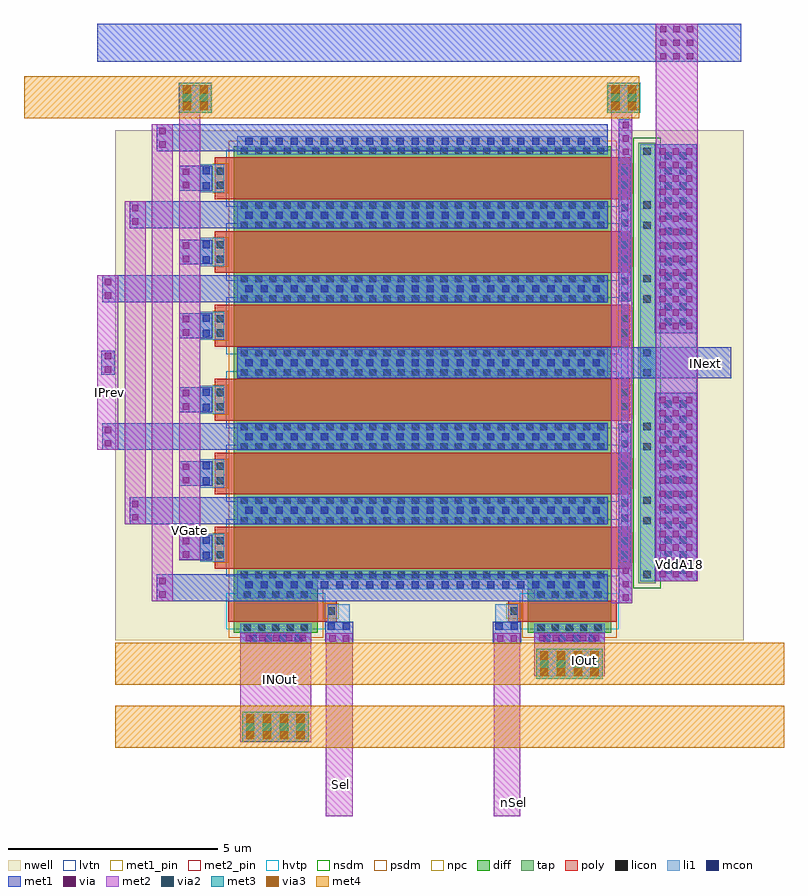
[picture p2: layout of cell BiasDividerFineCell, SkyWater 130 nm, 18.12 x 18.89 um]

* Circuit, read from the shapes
.subckt BiasDividerFineCell INOut INext IOut IPrev Sel VGate VddA18 nSel
XM1 n1 Sel INOut VddA18 sky130_fd_pr__pfet_01v8_hvt w=2 l=0.5
XM2 n2 VGate n1 VddA18 sky130_fd_pr__pfet_01v8_lvt w=9 l=1 m=2
XM3 IPrev VGate n2 VddA18 sky130_fd_pr__pfet_01v8_lvt w=9 l=1 m=2
XM4 INext VGate IPrev VddA18 sky130_fd_pr__pfet_01v8_lvt w=9 l=1 m=2
XM5 n1 nSel IOut VddA18 sky130_fd_pr__pfet_01v8_hvt w=2 l=0.5
.ends

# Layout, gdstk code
import gdstk
lib = gdstk.Library(unit=1e-6, precision=1e-09)
def R(c, l, rs):  # rectangles x0, y0, x1, y1
    for r in rs: c.add(gdstk.rectangle(r[:2], r[2:], *l))
def A(c, l, x, y, w, h, nx, ny, dx, dy):  # array of equal rectangles
    R(c, l, [(x+i*dx, y+j*dy, x+i*dx+w, y+j*dy+h) for i in range(nx) for j in range(ny)])
nwell = (64, 20)
diff = (65, 20)
tap = (65, 44)
poly = (66, 20)
licon = (66, 44)
li1 = (67, 20)
mcon = (67, 44)
met1_pin = (68, 16)
met1 = (68, 20)
via = (68, 44)
met2_pin = (69, 16)
met2 = (69, 20)
via2 = (69, 44)
met3 = (70, 20)
via3 = (70, 44)
met4 = (71, 20)
hvtp = (78, 44)
nsdm = (93, 44)
psdm = (94, 20)
npc = (95, 20)
lvtn = (125, 44)

biasdividerfinecell = lib.new_cell('BiasDividerFineCell')
R(biasdividerfinecell, nwell, [(0.425,4.195,15.415,16.35)])
R(biasdividerfinecell, diff, [(3.255,4.375,5.255,5.635), (10.255,4.375,12.255,5.635), (3.255,5.635,12.255,15.975)])
R(biasdividerfinecell, tap, [(12.9,5.555,13.31,16.055)])
A(biasdividerfinecell, poly, 2.8, 7.67, 9.91, 1, 1, 5, 0, 1.76)
R(biasdividerfinecell, poly, [(3.125,4.64,5.71,5.14), (9.8,4.64,12.385,5.14), (2.8,5.9,12.71,6.9)])
A(biasdividerfinecell, licon, 3.49, 4.415, 0.17, 0.17, 5, 2, 0.34, 0.78)
A(biasdividerfinecell, licon, 10.49, 4.415, 0.17, 0.17, 5, 2, 0.34, 0.78)
A(biasdividerfinecell, licon, 3.42, 5.675, 0.17, 0.17, 26, 2, 0.34, 1.28)
A(biasdividerfinecell, licon, 3.42, 7.445, 0.17, 0.17, 26, 2, 0.34, 1.28)
A(biasdividerfinecell, licon, 3.42, 9.205, 0.17, 0.17, 26, 2, 0.34, 1.28)
A(biasdividerfinecell, licon, 3.42, 10.965, 0.17, 0.17, 26, 2, 0.34, 1.28)
A(biasdividerfinecell, licon, 3.42, 12.725, 0.17, 0.17, 26, 2, 0.34, 1.28)
A(biasdividerfinecell, licon, 3.42, 14.485, 0.17, 0.17, 26, 2, 0.34, 1.28)
R(biasdividerfinecell, licon, [(5.49,4.805,5.66,4.975), (9.85,4.805,10.02,4.975), (13.02,5.675,13.19,5.845), (2.85,6.145,3.02,6.315), (12.49,6.145,12.66,6.315), (2.85,6.485,3.02,6.655), (12.49,6.485,12.66,6.655), (13.02,6.955,13.19,7.125), (13.02,7.445,13.19,7.615), (2.85,7.915,3.02,8.085), (12.49,7.915,12.66,8.085), (2.85,8.255,3.02,8.425), (12.49,8.255,12.66,8.425), (13.02,8.725,13.19,8.895), (13.02,9.205,13.19,9.375), (2.85,9.675,3.02,9.845), (12.49,9.675,12.66,9.845), (2.85,10.015,3.02,10.185), (12.49,10.015,12.66,10.185), (13.02,10.485,13.19,10.655), (13.02,10.965,13.19,11.135), (2.85,11.435,3.02,11.605), (12.49,11.435,12.66,11.605), (2.85,11.775,3.02,11.945), (12.49,11.775,12.66,11.945), (13.02,12.245,13.19,12.415), (13.02,12.725,13.19,12.895), (2.85,13.195,3.02,13.365), (12.49,13.195,12.66,13.365), (2.85,13.535,3.02,13.705), (12.49,13.535,12.66,13.705), (13.02,14.005,13.19,14.175), (13.02,14.485,13.19,14.655), (2.85,14.955,3.02,15.125), (12.49,14.955,12.66,15.125), (2.85,15.295,3.02,15.465), (12.49,15.295,12.66,15.465), (13.02,15.765,13.19,15.935)])
A(biasdividerfinecell, li1, 2.45, 7.835, 0.57, 0.67, 1, 5, 0, 1.76)
A(biasdividerfinecell, li1, 3.34, 8.725, 8.83, 0.65, 1, 4, 0, 1.76)
R(biasdividerfinecell, li1, [(3.41,4.115,5.1,4.585), (10.41,4.115,12.1,4.585), (5.49,4.44,6.02,5.055), (9.49,4.44,10.02,5.055), (3.34,5.195,5.1,5.405), (10.41,5.195,12.17,5.405), (3.34,5.405,12.17,5.845), (12.94,5.595,14.29,16.015), (2.45,6.065,3.02,6.735), (12.49,6.065,12.66,15.545), (3.34,6.955,12.17,7.615), (3.34,15.765,12.17,16.205)])
A(biasdividerfinecell, mcon, 3.63, 4.16, 0.17, 0.17, 4, 1, 0.36, 0)
A(biasdividerfinecell, mcon, 10.63, 4.16, 0.17, 0.17, 4, 1, 0.36, 0)
A(biasdividerfinecell, mcon, 3.53, 5.435, 0.17, 0.17, 24, 2, 0.36, 1.77)
A(biasdividerfinecell, mcon, 13.525, 5.78, 0.17, 0.17, 1, 12, 0, 0.36)
A(biasdividerfinecell, mcon, 13.885, 5.78, 0.17, 0.17, 1, 12, 0, 0.36)
A(biasdividerfinecell, mcon, 3.53, 8.965, 0.17, 0.17, 24, 5, 0.36, 1.76)
A(biasdividerfinecell, mcon, 13.525, 11.7, 0.17, 0.17, 1, 12, 0, 0.36)
A(biasdividerfinecell, mcon, 13.885, 11.7, 0.17, 0.17, 1, 12, 0, 0.36)
R(biasdividerfinecell, mcon, [(5.49,4.44,5.66,4.61), (5.85,4.44,6.02,4.61), (9.49,4.44,9.66,4.61), (9.85,4.44,10.02,4.61), (2.51,6.135,2.68,6.305), (2.51,6.495,2.68,6.665), (12.49,7.02,12.66,7.19), (12.49,7.38,12.66,7.55), (2.51,7.905,2.68,8.075), (2.51,8.265,2.68,8.435), (12.49,8.79,12.66,8.96), (12.49,9.15,12.66,9.32), (2.51,9.665,2.68,9.835), (2.51,10.025,2.68,10.195), (2.51,11.425,2.68,11.595), (2.51,11.785,2.68,11.955), (12.49,12.31,12.66,12.48), (12.49,12.67,12.66,12.84), (2.51,13.185,2.68,13.355), (2.51,13.545,2.68,13.715), (12.49,14.06,12.66,14.23), (12.49,14.42,12.66,14.59), (2.51,14.945,2.68,15.115), (2.51,15.305,2.68,15.475)])
R(biasdividerfinecell, met1_pin, [(14.44,10.725,14.58,10.865)])
A(biasdividerfinecell, met1, 1.95, 7.875, 0.79, 0.59, 1, 5, 0, 1.76)
R(biasdividerfinecell, met1, [(5.43,4.105,6.105,4.64), (9.43,4.105,10.105,4.64), (3.41,4.115,5.1,4.375), (10.41,4.115,12.1,4.375), (12.435,5.08,12.755,5.98), (1.42,5.125,12.17,5.765), (13.29,5.595,14.29,10.095), (12.435,5.98,12.72,6.99), (1.95,6.105,2.74,6.695), (0.77,6.965,12.17,7.605), (12.43,6.99,12.72,7.58), (12.435,7.58,12.72,8.76), (0.12,8.73,12.17,9.37), (12.43,8.76,12.72,9.35), (3.34,10.435,15.11,11.185), (0.09,10.52,0.41,11.1), (13.29,11.515,14.29,16.015), (0.12,12.255,12.17,12.895), (12.43,12.28,12.72,12.87), (12.435,12.87,12.72,14.03), (0.77,14.02,12.17,14.66), (12.43,14.03,12.72,14.62), (12.435,14.62,12.72,15.71), (12.435,15.71,12.755,16.61), (1.42,15.855,12.17,16.495), (0,17.99,15.35,18.89)])
A(biasdividerfinecell, via, 3.54, 4.17, 0.15, 0.15, 5, 1, 0.32, 0)
A(biasdividerfinecell, via, 10.54, 4.17, 0.15, 0.15, 5, 1, 0.32, 0)
A(biasdividerfinecell, via, 12.52, 5.135, 0.15, 0.15, 1, 3, 0, 0.32)
A(biasdividerfinecell, via, 13.395, 5.69, 0.15, 0.15, 3, 14, 0.32, 0.32)
A(biasdividerfinecell, via, 13.395, 11.61, 0.15, 0.15, 3, 14, 0.32, 0.32)
A(biasdividerfinecell, via, 12.52, 15.765, 0.15, 0.15, 1, 3, 0, 0.32)
A(biasdividerfinecell, via, 13.415, 18.045, 0.15, 0.15, 3, 3, 0.32, 0.32)
R(biasdividerfinecell, via, [(5.53,4.16,5.68,4.31), (5.85,4.16,6,4.31), (9.53,4.16,9.68,4.31), (9.85,4.16,10,4.31), (1.475,5.21,1.625,5.36), (1.475,5.53,1.625,5.68), (2.035,6.165,2.185,6.315), (2.035,6.485,2.185,6.635), (0.825,7.05,0.975,7.2), (0.825,7.37,0.975,7.52), (2.035,7.935,2.185,8.085), (2.035,8.255,2.185,8.405), (0.175,8.815,0.325,8.965), (0.175,9.135,0.325,9.285), (2.035,9.695,2.185,9.845), (2.035,10.015,2.185,10.165), (0.175,10.575,0.325,10.725), (0.175,10.895,0.325,11.045), (2.035,11.455,2.185,11.605), (2.035,11.775,2.185,11.925), (0.175,12.34,0.325,12.49), (0.175,12.66,0.325,12.81), (2.035,13.21,2.185,13.36), (2.035,13.53,2.185,13.68), (0.825,14.105,0.975,14.255), (0.825,14.425,0.975,14.575), (2.035,14.97,2.185,15.12), (2.035,15.29,2.185,15.44), (1.475,15.94,1.625,16.09), (1.475,16.26,1.625,16.41)])
R(biasdividerfinecell, met2_pin, [(9.845,0.255,9.985,0.395), (5.72,0.675,5.86,0.815), (4.285,3.18,4.425,3.32), (11.555,3.64,11.695,3.78), (13.82,5.94,13.96,6.08), (2.115,6.735,2.255,6.875), (0.215,10.04,0.355,10.18)])
R(biasdividerfinecell, met2, [(5.445,0,6.085,4.365), (9.445,0,10.085,4.365), (3.41,1.765,5.1,4.375), (10.41,3.33,12.1,4.375), (12.255,5.08,12.755,16.83), (1.3,5.125,1.8,16.495), (13.31,5.595,14.31,18.89), (1.95,6.11,2.45,16.83), (0.65,6.965,1.15,14.66), (0,8.73,0.5,12.895), (1.95,16.83,2.72,17.43), (12.165,16.83,12.935,17.43)])
A(biasdividerfinecell, via2, 3.545, 2.03, 0.2, 0.2, 4, 1, 0.4, 0)
A(biasdividerfinecell, via2, 10.555, 3.53, 0.2, 0.2, 4, 1, 0.4, 0)
R(biasdividerfinecell, via2, [(2.035,17.03,2.235,17.23), (2.435,17.03,2.635,17.23), (12.25,17.03,12.45,17.23), (12.65,17.03,12.85,17.23)])
R(biasdividerfinecell, met3, [(3.455,1.77,5.035,2.49), (10.465,3.27,12.045,3.99), (1.945,16.77,2.725,17.49), (12.16,16.77,12.94,17.49)])
A(biasdividerfinecell, via3, 3.545, 1.83, 0.2, 0.2, 4, 2, 0.4, 0.4)
A(biasdividerfinecell, via3, 10.555, 3.33, 0.2, 0.2, 4, 2, 0.4, 0.4)
R(biasdividerfinecell, via3, [(2.035,16.83,2.235,17.03), (2.435,16.83,2.635,17.03), (12.25,16.83,12.45,17.03), (12.65,16.83,12.85,17.03), (2.035,17.23,2.235,17.43), (2.435,17.23,2.635,17.43), (12.25,17.23,12.45,17.43), (12.65,17.23,12.85,17.43)])
R(biasdividerfinecell, met4, [(0.425,1.63,16.37,2.63), (0.425,3.13,16.37,4.13), (-1.75,16.635,12.915,17.635)])
R(biasdividerfinecell, hvtp, [(3.075,4.46,5.435,5.32), (10.075,4.46,12.435,5.32)])
R(biasdividerfinecell, nsdm, [(12.775,5.43,13.435,16.18)])
R(biasdividerfinecell, psdm, [(3.13,4.25,5.38,5.51), (10.13,4.25,12.38,5.51), (3.13,5.51,12.38,16.1)])
A(biasdividerfinecell, npc, 2.75, 7.815, 0.37, 0.71, 1, 5, 0, 1.76)
A(biasdividerfinecell, npc, 12.39, 7.815, 0.37, 0.71, 1, 5, 0, 1.76)
R(biasdividerfinecell, npc, [(5.39,4.705,5.76,5.075), (9.75,4.705,10.12,5.075), (2.75,6.045,3.12,6.755), (12.39,6.045,12.76,6.755)])
A(biasdividerfinecell, lvtn, 3.075, 7.49, 9.36, 1.36, 1, 5, 0, 1.76)
R(biasdividerfinecell, lvtn, [(3.075,5.72,12.435,7.08)])
biasdividerfinecell.add(gdstk.Label('VGate', (2.185,6.805), layer=69, texttype=5))
biasdividerfinecell.add(gdstk.Label('Sel', (5.79,0.745), layer=69, texttype=5))
biasdividerfinecell.add(gdstk.Label('nSel', (9.915,0.325), layer=69, texttype=5))
biasdividerfinecell.add(gdstk.Label('INOut', (4.355,3.25), layer=69, texttype=5))
biasdividerfinecell.add(gdstk.Label('IOut', (11.625,3.71), layer=69, texttype=5))
biasdividerfinecell.add(gdstk.Label('VddA18', (13.89,6.01), layer=69, texttype=5))
biasdividerfinecell.add(gdstk.Label('IPrev', (0.285,10.11), layer=69, texttype=5))
biasdividerfinecell.add(gdstk.Label('INext', (14.51,10.795), layer=68, texttype=5))

lib.write_gds('BiasDividerFineCell.gds')
